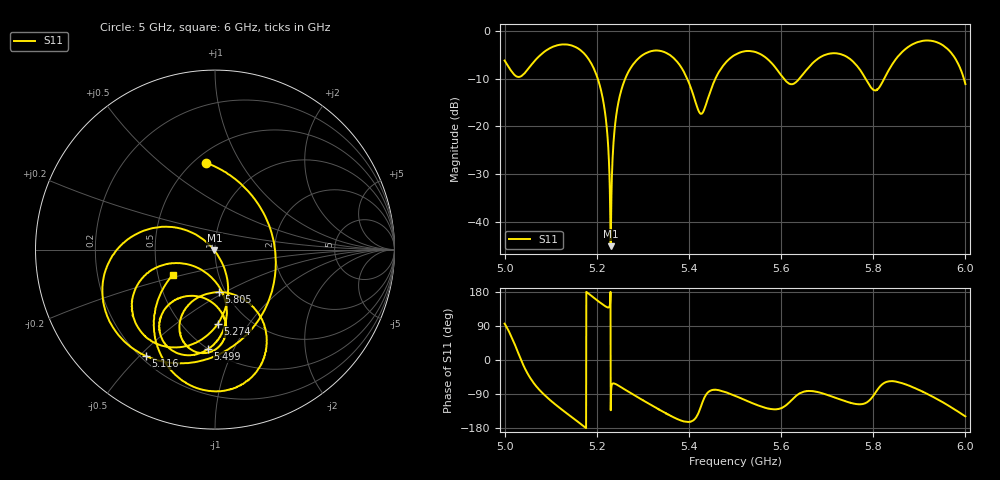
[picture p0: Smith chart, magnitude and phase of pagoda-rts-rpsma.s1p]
# HZ S RI R 50
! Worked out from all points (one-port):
!   2020 points, 5 GHz to 6 GHz, reference 50 ohm
!   lowest |S11| = -45.0 dB at 5.23 GHz (marker M1), VSWR 1.01, Z = 49.6 - j0.41 ohm
!   |S11| at or under -10 dB: 5.202 GHz to 5.262 GHz (59.82 MHz wide, 1.14 % of centre); 5.396 GHz to 5.458 GHz (61.48 MHz wide, 1.13 % of centre); 5.783 GHz to 5.824 GHz (40.9 MHz wide, 0.705 % of centre)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
!   S11 on the Smith chart (normalised r, x): 5 GHz: 0.57, +0.73; 5.116 GHz: 0.22, -0.52; 5.274 GHz: 0.73, -0.73; 5.499 GHz: 0.50, -0.80; 5.805 GHz: 0.93, -0.47; 6 GHz: 0.60, -0.18
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5e9  -0.05 0.4851
5.02526e9  0.2842 0.1754
5.047053e9  0.3281 -0.185
5.082714e9  0.0225 -0.5839
5.115899e9  -0.3832 -0.5927
5.12531e9  -0.4785 -0.5346
5.161961e9  -0.6207 -0.1573
5.200594e9  -0.3072 0.126
5.21793e9  -0.1108 0.0857
5.230312e9  -0.00381 -0.00413
5.240218e9  0.0496 -0.0973
5.250124e9  0.0717 -0.1971
5.274393e9  0.0156 -0.4133
5.31897e9  -0.2997 -0.5343
5.375434e9  -0.4275 -0.189
5.426944e9  -0.0672 -0.1174
5.46112e9  0.0653 -0.336
5.498762e9  -0.0378 -0.5536
5.500248e9  -0.0463 -0.5577
5.564141e9  -0.309 -0.4362
5.625062e9  -0.0629 -0.2693
5.700842e9  -0.0231 -0.5692
5.750372e9  -0.1918 -0.4653
5.80535e9  0.0199 -0.237
5.875186e9  0.2672 -0.6169
5.93264e9  -0.1235 -0.7622
5.969788e9  -0.3365 -0.4755
6.000001e9  -0.2366 -0.1431
